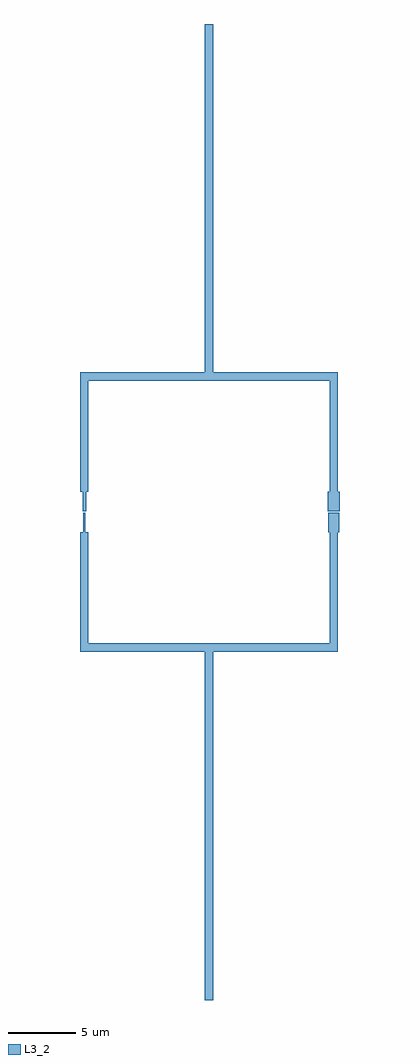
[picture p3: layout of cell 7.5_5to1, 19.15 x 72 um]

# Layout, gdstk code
import gdstk
lib = gdstk.Library(unit=1e-6, precision=1e-09)
def R(c, l, rs):  # rectangles x0, y0, x1, y1
    for r in rs: c.add(gdstk.rectangle(r[:2], r[2:], *l))
L3_2 = (3, 2)

c_7_5_5to1 = lib.new_cell('7.5_5to1')
R(c_7_5_5to1, L3_2, [(-0.375,-36,0.225,-10.3), (-9.575,-10.3,9.425,-9.7), (-9.575,-9.7,-8.975,-1.5), (8.825,-9.7,9.425,-1.5), (-9.355,-1.5,-9.195,-0.065), (8.725,-1.5,9.525,-0.065), (-9.405,0.065,-9.145,1.5), (8.675,0.065,9.575,1.5), (-9.575,1.5,-8.975,9.7), (8.825,1.5,9.425,9.7), (-9.575,9.7,9.425,10.3), (-0.375,10.3,0.225,36)])

lib.write_gds('7.5_5to1.gds')
